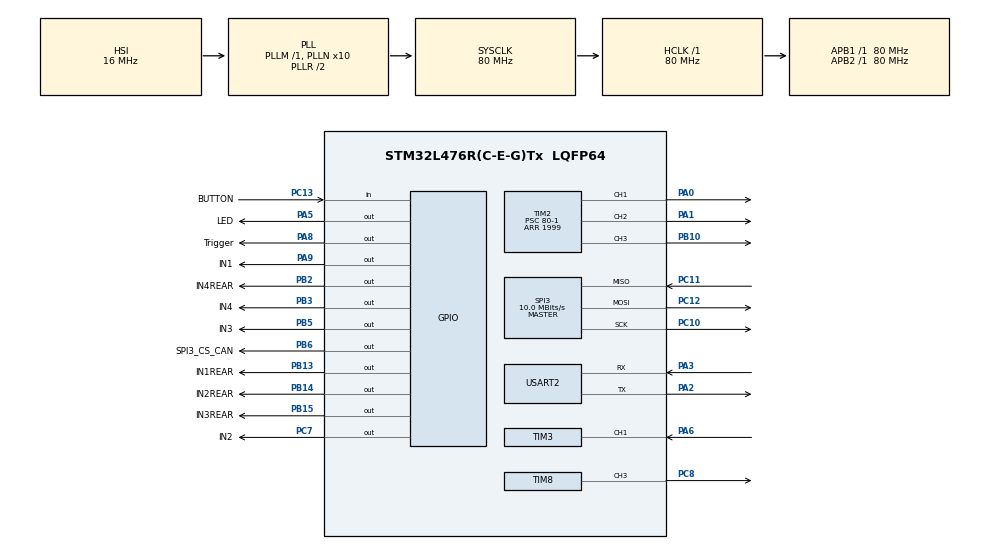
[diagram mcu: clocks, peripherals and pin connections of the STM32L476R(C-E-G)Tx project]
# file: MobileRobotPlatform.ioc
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FREERTOS.Tasks01=defaultTask,0,128,StartDefaultTask,Default,NULL,Dynamic,NULL,NULL;MotorControlTas,0,128,MotorControlTask,Default,NULL,Static,MotorControlTasBuffer,MotorControlTasControlBlock;Sensor,0,128,FrontUltrasonicSensorTask,Default,NULL,Static,SensorBuffer,SensorControlBlock;UART,0,128,UartTask,Default,NULL,Static,UARTBuffer,UARTControlBlock
Mcu.Family=STM32L4
Mcu.Name=STM32L476R(C-E-G)Tx
Mcu.Package=LQFP64
NVIC.PriorityGroup=NVIC_PRIORITYGROUP_4
NVIC.TIM1_UP_TIM16_IRQn=true\:15\:0\:false\:false\:true\:false\:false\:true\:true
NVIC.TIM3_IRQn=true\:5\:0\:false\:false\:true\:true\:true\:true\:true
NVIC.TimeBase=TIM1_UP_TIM16_IRQn
NVIC.TimeBaseIP=TIM1
PA0.Signal=S_TIM2_CH1
PA1.Signal=S_TIM2_CH2
PA13\ (JTMS-SWDIO).Mode=Serial_Wire
PA13\ (JTMS-SWDIO).Signal=SYS_JTMS-SWDIO
PA14\ (JTCK-SWCLK).Mode=Serial_Wire
PA14\ (JTCK-SWCLK).Signal=SYS_JTCK-SWCLK
PA2.Mode=Asynchronous
PA2.Signal=USART2_TX
PA3.Mode=Asynchronous
PA3.Signal=USART2_RX
PA5.GPIO_Label=LED
PA5.Signal=GPIO_Output
PA6.Signal=S_TIM3_CH1
PA8.GPIO_Label=Trigger
PA8.Signal=GPIO_Output
PA9.GPIO_Label=IN1
PA9.Signal=GPIO_Output
PB10.Signal=S_TIM2_CH3
PB13.GPIO_Label=IN1REAR
PB13.Signal=GPIO_Output
PB14.GPIO_Label=IN2REAR
PB14.Signal=GPIO_Output
PB15.GPIO_Label=IN3REAR
PB15.Signal=GPIO_Output
PB2.GPIO_Label=IN4REAR
PB2.Signal=GPIO_Output
PB3\ (JTDO-TRACESWO).GPIO_Label=IN4
PB3\ (JTDO-TRACESWO).Signal=GPIO_Output
PB5.GPIO_Label=IN3
PB5.Signal=GPIO_Output
PB6.GPIO_Label=SPI3_CS_CAN
PB6.PinState=GPIO_PIN_SET
PB6.Signal=GPIO_Output
PC10.Mode=Full_Duplex_Master
PC10.Signal=SPI3_SCK
PC11.Mode=Full_Duplex_Master
PC11.Signal=SPI3_MISO
PC12.Mode=Full_Duplex_Master
PC12.Signal=SPI3_MOSI
PC13.GPIO_Label=BUTTON
PC13.Signal=GPIO_Input
PC7.GPIO_Label=IN2
PC7.Signal=GPIO_Output
PC8.Signal=S_TIM8_CH3
PH0-OSC_IN\ (PH0).Mode=HSE-External-Oscillator
PH0-OSC_IN\ (PH0).Signal=RCC_OSC_IN
PH1-OSC_OUT\ (PH1).Mode=HSE-External-Oscillator
PH1-OSC_OUT\ (PH1).Signal=RCC_OSC_OUT
ProjectManager.HeapSize=0x200
ProjectManager.StackSize=0x400
ProjectManager.TargetToolchain=STM32CubeIDE
RCC.ADCFreq_Value=64000000
RCC.AHBFreq_Value=80000000
RCC.APB1Freq_Value=80000000
RCC.APB1TimFreq_Value=80000000
RCC.APB2Freq_Value=80000000
RCC.APB2TimFreq_Value=80000000
RCC.CortexFreq_Value=80000000
RCC.HCLKFreq_Value=80000000
RCC.HSE_VALUE=8000000
RCC.HSI_VALUE=16000000
RCC.LSE_VALUE=32768
RCC.MSI_VALUE=4000000
RCC.PLLN=10
RCC.PLLSourceVirtual=RCC_PLLSOURCE_HSI
RCC.PREFETCH_ENABLE=1
RCC.SYSCLKFreq_VALUE=80000000
RCC.SYSCLKSource=RCC_SYSCLKSOURCE_PLLCLK
RCC.USBFreq_Value=64000000
RCC.VCOOutputFreq_Value=160000000
SH.S_TIM2_CH1.0=TIM2_CH1,PWM Generation1 CH1
SH.S_TIM2_CH2.0=TIM2_CH2,PWM Generation2 CH2
SH.S_TIM2_CH3.0=TIM2_CH3,PWM Generation3 CH3
SH.S_TIM3_CH1.0=TIM3_CH1,Input_Capture1_from_TI1
SH.S_TIM8_CH3.0=TIM8_CH3,PWM Generation3 CH3
SPI3.BaudRatePrescaler=SPI_BAUDRATEPRESCALER_8
SPI3.CalculateBaudRate=10.0 MBits/s
SPI3.DataSize=SPI_DATASIZE_8BIT
SPI3.Direction=SPI_DIRECTION_2LINES
SPI3.Mode=SPI_MODE_MASTER
SPI3.VirtualType=VM_MASTER
TIM2.Channel-PWM\ Generation1\ CH1=TIM_CHANNEL_1
TIM2.Channel-PWM\ Generation2\ CH2=TIM_CHANNEL_2
TIM2.Channel-PWM\ Generation3\ CH3=TIM_CHANNEL_3
TIM2.Period=1999
TIM2.Prescaler=80-1
TIM3.Channel-Input_Capture1_from_TI1=TIM_CHANNEL_1
TIM3.ICFilter_CH1=4
TIM3.ICPolarity_CH1=TIM_INPUTCHANNELPOLARITY_BOTHEDGE
TIM3.Period=65535
TIM3.Prescaler=80-1
TIM4.Period=0
TIM4.Prescaler=80-1
TIM8.Channel-PWM\ Generation3\ CH3=TIM_CHANNEL_3
TIM8.Period=1999
TIM8.Prescaler=80-1
USART2.VirtualMode-Asynchronous=VM_ASYNC
VP_FREERTOS_VS_CMSIS_V1.Mode=CMSIS_V1
VP_SYS_VS_tim1.Mode=TIM1
VP_TIM2_VS_ClockSourceINT.Mode=Internal
VP_TIM3_VS_ClockSourceINT.Mode=Internal
VP_TIM4_VS_ClockSourceINT.Mode=Internal
board=NUCLEO-L476RG

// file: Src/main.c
/* USER CODE BEGIN Header */
/**
  ******************************************************************************
  * @file           : main.c
  * @brief          : Main program body
  ******************************************************************************
  * @attention
  *
  * Copyright (c) 2024 STMicroelectronics.
  * All rights reserved.
  *
  * This software is licensed under terms that can be found in the LICENSE file
  * in the root directory of this software component.
  * If no LICENSE file comes with this software, it is provided AS-IS.
  *
  ******************************************************************************
  */
/* USER CODE END Header */
#include "main.h"
#include "cmsis_os.h"

/* USER CODE BEGIN Includes */

#include <string.h>
#include <stdio.h>
#include <stdlib.h>

#include "Interface/Include/capture_timer_interface.h"
#include "Interface/Include/gpio_interface.h"
#include "Interface/Include/uart_interface.h"
#include "Interface/Include/motor_control_interface.h"
#include "OS/Include/os_tasks.h"
#include "task.h"
#include "FreeRTOS.h"
#include "CAN_SPI.h"

/* USER CODE END Includes */

/* USER CODE BEGIN PTD */

#define usTIM TIM4

/* USER CODE END PTD */

/* USER CODE BEGIN PM */

#define UART_BUFFER_SIZE 200
#define STACK_SIZE 128

/* USER CODE END PM */

SPI_HandleTypeDef hspi3;

TIM_HandleTypeDef htim2;
TIM_HandleTypeDef htim3;
TIM_HandleTypeDef htim4;
TIM_HandleTypeDef htim8;

UART_HandleTypeDef huart2;

osThreadId defaultTaskHandle;
osThreadId MotorControlTasHandle;
uint32_t MotorControlTasBuffer[ 128 ];
osStaticThreadDef_t MotorControlTasControlBlock;
osThreadId SensorHandle;
uint32_t SensorBuffer[ 128 ];
osStaticThreadDef_t SensorControlBlock;
osThreadId UARTHandle;
uint32_t UARTBuffer[ 128 ];
osStaticThreadDef_t UARTControlBlock;
/* USER CODE BEGIN PV */

uCAN_MSG txMessage;
uCAN_MSG rxMessage;

/* USER CODE END PV */

void SystemClock_Config(void);
static void MX_GPIO_Init(void);
static void MX_USART2_UART_Init(void);
static void MX_TIM4_Init(void);
static void MX_TIM3_Init(void);
static void MX_TIM2_Init(void);
static void MX_TIM8_Init(void);
static void MX_SPI3_Init(void);
void StartDefaultTask(void const * argument);
void MotorControlTask(void const * argument);
void FrontUltrasonicSensorTask(void const * argument);
void UartTask(void const * argument);

/* USER CODE BEGIN PFP */

void usDelay(uint32_t us);

/* USER CODE END PFP */

/* USER CODE BEGIN 0 */

SemaphoreHandle_t mutex_frontSensor;

const float speed_of_sound = 0.0343 / 2;  /* speed of sound in cm per us */
int distanceFrontSensor;

uint8_t  icFlag                 = 0;
uint8_t  captureIdx             = 0;
uint32_t firstEdgeTime          = 0;
uint32_t secondEdgeTime         = 0;
uint16_t right_motor_value      = 0;
uint16_t left_motor_value       = 0;
uint8_t  turn_value             = 0;
uint8_t  direction_left_front   = FORWARD;
uint8_t  direction_right_front  = FORWARD;
uint8_t  direction_left_rear    = FORWARD;
uint8_t  direction_right_rear   = FORWARD;

char     uartBuf[UART_BUFFER_SIZE];

int uartTaskCounter;
int motorTaskCounter;
int sensorTaskCounter;
int ret;
/* USER CODE END 0 */

int main(void)
{

  /* MCU Configuration--------------------------------------------------------*/

  /* Reset of all peripherals, Initializes the Flash interface and the Systick. */
  HAL_Init();

  /* Configure the system clock */
  SystemClock_Config();

  /* Initialize all configured peripherals */
  MX_GPIO_Init();
  MX_USART2_UART_Init();
  MX_TIM4_Init();
  MX_TIM3_Init();
  MX_TIM2_Init();
  MX_TIM8_Init();
  MX_SPI3_Init();
  /* USER CODE BEGIN 2 */

//  distanceRightSensor = (int*)malloc(sizeof(int));
//  if (distanceRightSensor == NULL)
//  {
//	  Error_Handler();
//  }
  uartTaskCounter = 0;
  motorTaskCounter = 0;
  sensorTaskCounter = 0;

  distanceFrontSensor = 0;

  mutex_frontSensor = xSemaphoreCreateMutex();

  ret = CANSPI_Initialize();

  if (ret < 0)
  { /* error => stall the processor */
	  while(1)
	  {

	  }
  }

  /* USER CODE END 2 */

  /* Create the thread(s) */
  /* definition and creation of defaultTask */
  osThreadDef(defaultTask, StartDefaultTask, osPriorityNormal, 0, 128);
  defaultTaskHandle = osThreadCreate(osThread(defaultTask), NULL);

  /* definition and creation of MotorControlTas */
  osThreadStaticDef(MotorControlTas, MotorControlTask, osPriorityNormal, 0, 128, MotorControlTasBuffer, &MotorControlTasControlBlock);
  MotorControlTasHandle = osThreadCreate(osThread(MotorControlTas), NULL);

  /* definition and creation of Sensor */
  osThreadStaticDef(Sensor, FrontUltrasonicSensorTask, osPriorityNormal, 0, 128, SensorBuffer, &SensorControlBlock);
  SensorHandle = osThreadCreate(osThread(Sensor), NULL);

  /* definition and creation of UART */
  osThreadStaticDef(UART, UartTask, osPriorityNormal, 0, 128, UARTBuffer, &UARTControlBlock);
  UARTHandle = osThreadCreate(osThread(UART), NULL);

  /* Start scheduler */
  osKernelStart();
  /* We should never get here as control is now taken by the scheduler */
  /* Infinite loop */
  while (1)
  {

  }
}

void SystemClock_Config(void)
{
  RCC_OscInitTypeDef RCC_OscInitStruct = {0};
  RCC_ClkInitTypeDef RCC_ClkInitStruct = {0};

  /** Configure the main internal regulator output voltage
  */
  if (HAL_PWREx_ControlVoltageScaling(PWR_REGULATOR_VOLTAGE_SCALE1) != HAL_OK)
  {
    Error_Handler();
  }

  /** Initializes the RCC Oscillators according to the specified parameters
  * in the RCC_OscInitTypeDef structure.
  */
  RCC_OscInitStruct.OscillatorType = RCC_OSCILLATORTYPE_HSI;
  RCC_OscInitStruct.HSIState = RCC_HSI_ON;
  RCC_OscInitStruct.HSICalibrationValue = RCC_HSICALIBRATION_DEFAULT;
  RCC_OscInitStruct.PLL.PLLState = RCC_PLL_ON;
  RCC_OscInitStruct.PLL.PLLSource = RCC_PLLSOURCE_HSI;
  RCC_OscInitStruct.PLL.PLLM = 1;
  RCC_OscInitStruct.PLL.PLLN = 10;
  RCC_OscInitStruct.PLL.PLLP = RCC_PLLP_DIV7;
  RCC_OscInitStruct.PLL.PLLQ = RCC_PLLQ_DIV2;
  RCC_OscInitStruct.PLL.PLLR = RCC_PLLR_DIV2;
  if (HAL_RCC_OscConfig(&RCC_OscInitStruct) != HAL_OK)
  {
    Error_Handler();
  }

  /** Initializes the CPU, AHB and APB buses clocks
  */
  RCC_ClkInitStruct.ClockType = RCC_CLOCKTYPE_HCLK|RCC_CLOCKTYPE_SYSCLK
                              |RCC_CLOCKTYPE_PCLK1|RCC_CLOCKTYPE_PCLK2;
  RCC_ClkInitStruct.SYSCLKSource = RCC_SYSCLKSOURCE_PLLCLK;
  RCC_ClkInitStruct.AHBCLKDivider = RCC_SYSCLK_DIV1;
  RCC_ClkInitStruct.APB1CLKDivider = RCC_HCLK_DIV1;
  RCC_ClkInitStruct.APB2CLKDivider = RCC_HCLK_DIV1;

  if (HAL_RCC_ClockConfig(&RCC_ClkInitStruct, FLASH_LATENCY_4) != HAL_OK)
  {
    Error_Handler();
  }
}

static void MX_SPI3_Init(void)
{

  /* SPI3 parameter configuration*/
  hspi3.Instance = SPI3;
  hspi3.Init.Mode = SPI_MODE_MASTER;
  hspi3.Init.Direction = SPI_DIRECTION_2LINES;
  hspi3.Init.DataSize = SPI_DATASIZE_8BIT;
  hspi3.Init.CLKPolarity = SPI_POLARITY_LOW;
  hspi3.Init.CLKPhase = SPI_PHASE_1EDGE;
  hspi3.Init.NSS = SPI_NSS_SOFT;
  hspi3.Init.BaudRatePrescaler = SPI_BAUDRATEPRESCALER_8;
  hspi3.Init.FirstBit = SPI_FIRSTBIT_MSB;
  hspi3.Init.TIMode = SPI_TIMODE_DISABLE;
  hspi3.Init.CRCCalculation = SPI_CRCCALCULATION_DISABLE;
  hspi3.Init.CRCPolynomial = 7;
  hspi3.Init.CRCLength = SPI_CRC_LENGTH_DATASIZE;
  hspi3.Init.NSSPMode = SPI_NSS_PULSE_ENABLE;
  if (HAL_SPI_Init(&hspi3) != HAL_OK)
  {
    Error_Handler();
  }

}

static void MX_TIM2_Init(void)
{

  TIM_ClockConfigTypeDef sClockSourceConfig = {0};
  TIM_MasterConfigTypeDef sMasterConfig = {0};
  TIM_OC_InitTypeDef sConfigOC = {0};

  htim2.Instance = TIM2;
  htim2.Init.Prescaler = 80-1;
  htim2.Init.CounterMode = TIM_COUNTERMODE_UP;
  htim2.Init.Period = 1999;
  htim2.Init.ClockDivision = TIM_CLOCKDIVISION_DIV1;
  htim2.Init.AutoReloadPreload = TIM_AUTORELOAD_PRELOAD_DISABLE;
  if (HAL_TIM_Base_Init(&htim2) != HAL_OK)
  {
    Error_Handler();
  }
  sClockSourceConfig.ClockSource = TIM_CLOCKSOURCE_INTERNAL;
  if (HAL_TIM_ConfigClockSource(&htim2, &sClockSourceConfig) != HAL_OK)
  {
    Error_Handler();
  }
  if (HAL_TIM_PWM_Init(&htim2) != HAL_OK)
  {
    Error_Handler();
  }
  sMasterConfig.MasterOutputTrigger = TIM_TRGO_RESET;
  sMasterConfig.MasterSlaveMode = TIM_MASTERSLAVEMODE_DISABLE;
  if (HAL_TIMEx_MasterConfigSynchronization(&htim2, &sMasterConfig) != HAL_OK)
  {
    Error_Handler();
  }
  sConfigOC.OCMode = TIM_OCMODE_PWM1;
  sConfigOC.Pulse = 0;
  sConfigOC.OCPolarity = TIM_OCPOLARITY_HIGH;
  sConfigOC.OCFastMode = TIM_OCFAST_DISABLE;
  if (HAL_TIM_PWM_ConfigChannel(&htim2, &sConfigOC, TIM_CHANNEL_1) != HAL_OK)
  {
    Error_Handler();
  }
  if (HAL_TIM_PWM_ConfigChannel(&htim2, &sConfigOC, TIM_CHANNEL_2) != HAL_OK)
  {
    Error_Handler();
  }
  if (HAL_TIM_PWM_ConfigChannel(&htim2, &sConfigOC, TIM_CHANNEL_3) != HAL_OK)
  {
    Error_Handler();
  }
  HAL_TIM_MspPostInit(&htim2);

}

static void MX_TIM3_Init(void)
{

  TIM_ClockConfigTypeDef sClockSourceConfig = {0};
  TIM_MasterConfigTypeDef sMasterConfig = {0};
  TIM_IC_InitTypeDef sConfigIC = {0};

  htim3.Instance = TIM3;
  htim3.Init.Prescaler = 80-1;
  htim3.Init.CounterMode = TIM_COUNTERMODE_UP;
  htim3.Init.Period = 65535;
  htim3.Init.ClockDivision = TIM_CLOCKDIVISION_DIV1;
  htim3.Init.AutoReloadPreload = TIM_AUTORELOAD_PRELOAD_DISABLE;
  if (HAL_TIM_Base_Init(&htim3) != HAL_OK)
  {
    Error_Handler();
  }
  sClockSourceConfig.ClockSource = TIM_CLOCKSOURCE_INTERNAL;
  if (HAL_TIM_ConfigClockSource(&htim3, &sClockSourceConfig) != HAL_OK)
  {
    Error_Handler();
  }
  if (HAL_TIM_IC_Init(&htim3) != HAL_OK)
  {
    Error_Handler();
  }
  sMasterConfig.MasterOutputTrigger = TIM_TRGO_RESET;
  sMasterConfig.MasterSlaveMode = TIM_MASTERSLAVEMODE_DISABLE;
  if (HAL_TIMEx_MasterConfigSynchronization(&htim3, &sMasterConfig) != HAL_OK)
  {
    Error_Handler();
  }
  sConfigIC.ICPolarity = TIM_INPUTCHANNELPOLARITY_BOTHEDGE;
  sConfigIC.ICSelection = TIM_ICSELECTION_DIRECTTI;
  sConfigIC.ICPrescaler = TIM_ICPSC_DIV1;
  sConfigIC.ICFilter = 4;
  if (HAL_TIM_IC_ConfigChannel(&htim3, &sConfigIC, TIM_CHANNEL_1) != HAL_OK)
  {
    Error_Handler();
  }

}

static void MX_TIM4_Init(void)
{

  TIM_ClockConfigTypeDef sClockSourceConfig = {0};
  TIM_MasterConfigTypeDef sMasterConfig = {0};

  htim4.Instance = TIM4;
  htim4.Init.Prescaler = 80-1;
  htim4.Init.CounterMode = TIM_COUNTERMODE_UP;
  htim4.Init.Period = 0;
  htim4.Init.ClockDivision = TIM_CLOCKDIVISION_DIV1;
  htim4.Init.AutoReloadPreload = TIM_AUTORELOAD_PRELOAD_DISABLE;
  if (HAL_TIM_Base_Init(&htim4) != HAL_OK)
  {
    Error_Handler();
  }
  sClockSourceConfig.ClockSource = TIM_CLOCKSOURCE_INTERNAL;
  if (HAL_TIM_ConfigClockSource(&htim4, &sClockSourceConfig) != HAL_OK)
  {
    Error_Handler();
  }
  sMasterConfig.MasterOutputTrigger = TIM_TRGO_RESET;
  sMasterConfig.MasterSlaveMode = TIM_MASTERSLAVEMODE_DISABLE;
  if (HAL_TIMEx_MasterConfigSynchronization(&htim4, &sMasterConfig) != HAL_OK)
  {
    Error_Handler();
  }

}

static void MX_TIM8_Init(void)
{

  TIM_MasterConfigTypeDef sMasterConfig = {0};
  TIM_OC_InitTypeDef sConfigOC = {0};
  TIM_BreakDeadTimeConfigTypeDef sBreakDeadTimeConfig = {0};

  htim8.Instance = TIM8;
  htim8.Init.Prescaler = 80-1;
  htim8.Init.CounterMode = TIM_COUNTERMODE_UP;
  htim8.Init.Period = 1999;
  htim8.Init.ClockDivision = TIM_CLOCKDIVISION_DIV1;
  htim8.Init.RepetitionCounter = 0;
  htim8.Init.AutoReloadPreload = TIM_AUTORELOAD_PRELOAD_DISABLE;
  if (HAL_TIM_PWM_Init(&htim8) != HAL_OK)
  {
    Error_Handler();
  }
  sMasterConfig.MasterOutputTrigger = TIM_TRGO_RESET;
  sMasterConfig.MasterOutputTrigger2 = TIM_TRGO2_RESET;
  sMasterConfig.MasterSlaveMode = TIM_MASTERSLAVEMODE_DISABLE;
  if (HAL_TIMEx_MasterConfigSynchronization(&htim8, &sMasterConfig) != HAL_OK)
  {
    Error_Handler();
  }
  sConfigOC.OCMode = TIM_OCMODE_PWM1;
  sConfigOC.Pulse = 0;
  sConfigOC.OCPolarity = TIM_OCPOLARITY_HIGH;
  sConfigOC.OCNPolarity = TIM_OCNPOLARITY_HIGH;
  sConfigOC.OCFastMode = TIM_OCFAST_DISABLE;
  sConfigOC.OCIdleState = TIM_OCIDLESTATE_RESET;
  sConfigOC.OCNIdleState = TIM_OCNIDLESTATE_RESET;
  if (HAL_TIM_PWM_ConfigChannel(&htim8, &sConfigOC, TIM_CHANNEL_3) != HAL_OK)
  {
    Error_Handler();
  }
  sBreakDeadTimeConfig.OffStateRunMode = TIM_OSSR_DISABLE;
  sBreakDeadTimeConfig.OffStateIDLEMode = TIM_OSSI_DISABLE;
  sBreakDeadTimeConfig.LockLevel = TIM_LOCKLEVEL_OFF;
  sBreakDeadTimeConfig.DeadTime = 0;
  sBreakDeadTimeConfig.BreakState = TIM_BREAK_DISABLE;
  sBreakDeadTimeConfig.BreakPolarity = TIM_BREAKPOLARITY_HIGH;
  sBreakDeadTimeConfig.BreakFilter = 0;
  sBreakDeadTimeConfig.Break2State = TIM_BREAK2_DISABLE;
  sBreakDeadTimeConfig.Break2Polarity = TIM_BREAK2POLARITY_HIGH;
  sBreakDeadTimeConfig.Break2Filter = 0;
  sBreakDeadTimeConfig.AutomaticOutput = TIM_AUTOMATICOUTPUT_DISABLE;
  if (HAL_TIMEx_ConfigBreakDeadTime(&htim8, &sBreakDeadTimeConfig) != HAL_OK)
  {
    Error_Handler();
  }
  HAL_TIM_MspPostInit(&htim8);

}

static void MX_USART2_UART_Init(void)
{

  huart2.Instance = USART2;
  huart2.Init.BaudRate = 115200;
  huart2.Init.WordLength = UART_WORDLENGTH_8B;
  huart2.Init.StopBits = UART_STOPBITS_1;
  huart2.Init.Parity = UART_PARITY_NONE;
  huart2.Init.Mode = UART_MODE_TX_RX;
  huart2.Init.HwFlowCtl = UART_HWCONTROL_NONE;
  huart2.Init.OverSampling = UART_OVERSAMPLING_16;
  huart2.Init.OneBitSampling = UART_ONE_BIT_SAMPLE_DISABLE;
  huart2.AdvancedInit.AdvFeatureInit = UART_ADVFEATURE_NO_INIT;
  if (HAL_UART_Init(&huart2) != HAL_OK)
  {
    Error_Handler();
  }

}

static void MX_GPIO_Init(void)
{
  GPIO_InitTypeDef GPIO_InitStruct = {0};

  /* GPIO Ports Clock Enable */
  __HAL_RCC_GPIOC_CLK_ENABLE();
  __HAL_RCC_GPIOH_CLK_ENABLE();
  __HAL_RCC_GPIOA_CLK_ENABLE();
  __HAL_RCC_GPIOB_CLK_ENABLE();

  /*Configure GPIO pin Output Level */
  HAL_GPIO_WritePin(GPIOA, LED_Pin|Trigger_Pin|IN1_Pin, GPIO_PIN_RESET);

  /*Configure GPIO pin Output Level */
  HAL_GPIO_WritePin(GPIOB, IN4REAR_Pin|IN1REAR_Pin|IN2REAR_Pin|IN3REAR_Pin
                          |IN4_Pin|IN3_Pin, GPIO_PIN_RESET);

  /*Configure GPIO pin Output Level */
  HAL_GPIO_WritePin(IN2_GPIO_Port, IN2_Pin, GPIO_PIN_RESET);

  /*Configure GPIO pin Output Level */
  HAL_GPIO_WritePin(SPI3_CS_CAN_GPIO_Port, SPI3_CS_CAN_Pin, GPIO_PIN_SET);

  /*Configure GPIO pin : BUTTON_Pin */
  GPIO_InitStruct.Pin = BUTTON_Pin;
  GPIO_InitStruct.Mode = GPIO_MODE_INPUT;
  GPIO_InitStruct.Pull = GPIO_NOPULL;
  HAL_GPIO_Init(BUTTON_GPIO_Port, &GPIO_InitStruct);

  /*Configure GPIO pins : LED_Pin Trigger_Pin IN1_Pin */
  GPIO_InitStruct.Pin = LED_Pin|Trigger_Pin|IN1_Pin;
  GPIO_InitStruct.Mode = GPIO_MODE_OUTPUT_PP;
  GPIO_InitStruct.Pull = GPIO_NOPULL;
  GPIO_InitStruct.Speed = GPIO_SPEED_FREQ_LOW;
  HAL_GPIO_Init(GPIOA, &GPIO_InitStruct);

  /*Configure GPIO pins : IN4REAR_Pin IN1REAR_Pin IN2REAR_Pin IN3REAR_Pin
                           IN4_Pin IN3_Pin SPI3_CS_CAN_Pin */
  GPIO_InitStruct.Pin = IN4REAR_Pin|IN1REAR_Pin|IN2REAR_Pin|IN3REAR_Pin
                          |IN4_Pin|IN3_Pin|SPI3_CS_CAN_Pin;
  GPIO_InitStruct.Mode = GPIO_MODE_OUTPUT_PP;
  GPIO_InitStruct.Pull = GPIO_NOPULL;
  GPIO_InitStruct.Speed = GPIO_SPEED_FREQ_LOW;
  HAL_GPIO_Init(GPIOB, &GPIO_InitStruct);

  /*Configure GPIO pin : IN2_Pin */
  GPIO_InitStruct.Pin = IN2_Pin;
  GPIO_InitStruct.Mode = GPIO_MODE_OUTPUT_PP;
  GPIO_InitStruct.Pull = GPIO_NOPULL;
  GPIO_InitStruct.Speed = GPIO_SPEED_FREQ_LOW;
  HAL_GPIO_Init(IN2_GPIO_Port, &GPIO_InitStruct);

}

/* USER CODE BEGIN 4 */

void usDelay(uint32_t us)
{
	if (us < 2)
	{
		us = 2;
	}

	usTIM->ARR = us - 1; /* auto-reload register */
	usTIM->EGR = 1;      /* re-initialize timer  */
	usTIM->SR &= ~1;     /* reset flag           */
	usTIM->CR1 |= 1;     /* enable counter       */
	while((usTIM->SR&0x0001) != 1);
	usTIM->SR &= ~(0x0001);
}

void HAL_TIM_IC_CaptureCallback(TIM_HandleTypeDef *htim)
{
	toogle_gpio_pin(LED_GPIO_Port, LED_Pin); /* we entered the callback */

	if (0 == captureIdx) /* rising edge */
	{
		firstEdgeTime = HAL_TIM_ReadCapturedValue(htim, TIM_CHANNEL_1);

		captureIdx = 1;
	}

	else if (1 == captureIdx) /* falling edge */
	{
		secondEdgeTime = HAL_TIM_ReadCapturedValue(htim, TIM_CHANNEL_1);

		captureIdx = 0;
		icFlag = 1; /* we finished capturing the time */
	}
}

/* USER CODE END 4 */

void StartDefaultTask(void const * argument)
{
  /* USER CODE BEGIN 5 */
  /* Infinite loop */
  for(;;)
  {
	txMessage.frame.idType = rxMessage.frame.idType;
	txMessage.frame.id = 0x0A;
	txMessage.frame.dlc = 8;
	txMessage.frame.data0 = 0;
	txMessage.frame.data1 = 1;
	txMessage.frame.data2 = 2;
	txMessage.frame.data3 = 3;
	txMessage.frame.data4 = 4;
	txMessage.frame.data5 = 5;
	txMessage.frame.data6 = 6;
	txMessage.frame.data7 = 7;
	CANSPI_Transmit(&txMessage);

	HAL_Delay(100);
	osDelay(1);
  }
  /* USER CODE END 5 */
}

void MotorControlTask(void const * argument)
{
  /* USER CODE BEGIN MotorControlTask */

  TickType_t xLastWakeTime;
  const TickType_t xFrequency = pdMS_TO_TICKS(10); /* 10 mseconds */

  xLastWakeTime = xTaskGetTickCount();

  /* Infinite loop */
  for(;;)
  {
//	  int value_for_front_distance_sensor = 0;
//
//	  xSemaphoreTake(mutex_frontSensor, portMAX_DELAY);
//
//	  value_for_front_distance_sensor = distanceFrontSensor;
//
//	  xSemaphoreGive(mutex_frontSensor);
//
//	  if (value_for_front_distance_sensor > STOP_LIMIT)
//	  {
//		  turn_value = GO;
//	  }
//	  else if ((value_for_front_distance_sensor > 0) && (value_for_front_distance_sensor < STOP_LIMIT))
//	  {
//		  turn_value = TURN_RIGHT;
//	  }
//
//	  set_turn_values(turn_value, &right_motor_value, &left_motor_value, &direction_left_front, &direction_right_front, &direction_left_rear, &direction_right_rear);
//
//	  set_direction(IN1_GPIO_Port, IN1_Pin, IN2_GPIO_Port, IN2_Pin, direction_right_front);
//	  set_direction(IN3_GPIO_Port, IN3_Pin, IN4_GPIO_Port, IN4_Pin, direction_left_front);
//	  set_direction(IN1REAR_GPIO_Port, IN1REAR_Pin, IN2REAR_GPIO_Port, IN2REAR_Pin, direction_left_rear);
//	  set_direction(IN3REAR_GPIO_Port, IN3REAR_Pin, IN4REAR_GPIO_Port, IN4REAR_Pin, direction_right_rear);
//
//	  TIM2->CCR3 = right_motor_value;
//	  TIM8->CCR3 = left_motor_value;
//	  TIM2->CCR1 = left_motor_value;
//	  TIM2->CCR2 = right_motor_value;
//
//	  pwm_start(&htim2, TIM_CHANNEL_3);
//	  pwm_start(&htim8, TIM_CHANNEL_3);
//	  pwm_start(&htim2, TIM_CHANNEL_1);
//	  pwm_start(&htim2, TIM_CHANNEL_2);

	  motorTaskCounter++;

	  vTaskDelayUntil(&xLastWakeTime, xFrequency);
  }
  /* USER CODE END MotorControlTask */
}

void FrontUltrasonicSensorTask(void const * argument)
{
  /* USER CODE BEGIN FrontUltrasonicSensorTask */

  TickType_t xLastWakeTime;
  const TickType_t xFrequency = pdMS_TO_TICKS(30); /* 30 mseconds */

  xLastWakeTime = xTaskGetTickCount();

  /* Infinite loop */
  for(;;)
  {
	  write_gpio_pin(Trigger_GPIO_Port, Trigger_Pin, GPIO_PIN_RESET);
	  usDelay(5);

	  write_gpio_pin(Trigger_GPIO_Port, Trigger_Pin, GPIO_PIN_SET);
	  usDelay(10);
	  write_gpio_pin(Trigger_GPIO_Port, Trigger_Pin, GPIO_PIN_RESET);

	  start_capture_timer(&htim3, TIM_CHANNEL_1);

	  uint32_t startTick = HAL_GetTick();

	  do
	  {
		  if (icFlag != 0)
		  {
			  break;
		  }
	  } while ((HAL_GetTick() - startTick) < 500);

	  icFlag = 0;
	  stop_capture_timer(&htim3, TIM_CHANNEL_1);
	  HAL_Delay(2);

	  int calculated_distance_for_front_sensor;
	  if (secondEdgeTime > firstEdgeTime)
	  {
		  calculated_distance_for_front_sensor = (int)((secondEdgeTime - firstEdgeTime + 0.0f) * speed_of_sound);
	  }
	  else
	  {
		  calculated_distance_for_front_sensor = 0;
	  }

	  xSemaphoreTake(mutex_frontSensor, portMAX_DELAY);

	  distanceFrontSensor = calculated_distance_for_front_sensor;

	  xSemaphoreGive(mutex_frontSensor);

	  sensorTaskCounter++;
	  sprintf(uartBuf, "Distance in cm is %d\n\r", + calculated_distance_for_front_sensor);

	  vTaskDelayUntil(&xLastWakeTime, xFrequency);
//	  vTaskDelay(xLastWakeTime);
  }
  /* USER CODE END FrontUltrasonicSensorTask */
}

void UartTask(void const * argument)
{
  /* USER CODE BEGIN UartTask */

  TickType_t xLastWakeTime;
  const TickType_t xFrequency = pdMS_TO_TICKS(300); /* 300 mseconds */

  xLastWakeTime = xTaskGetTickCount();

  /* Infinite loop */
  for(;;)
  {
	  HandleUartTask(&huart2, (uint8_t *)uartBuf, sizeof(uartBuf), 100);

	  uartTaskCounter++;

	  vTaskDelayUntil(&xLastWakeTime, xFrequency);
  }
  /* USER CODE END UartTask */
}

void HAL_TIM_PeriodElapsedCallback(TIM_HandleTypeDef *htim)
{
  if (htim->Instance == TIM1) {
    HAL_IncTick();
  }
}

void Error_Handler(void)
{
  __disable_irq();
  while (1)
  {
  }
}
